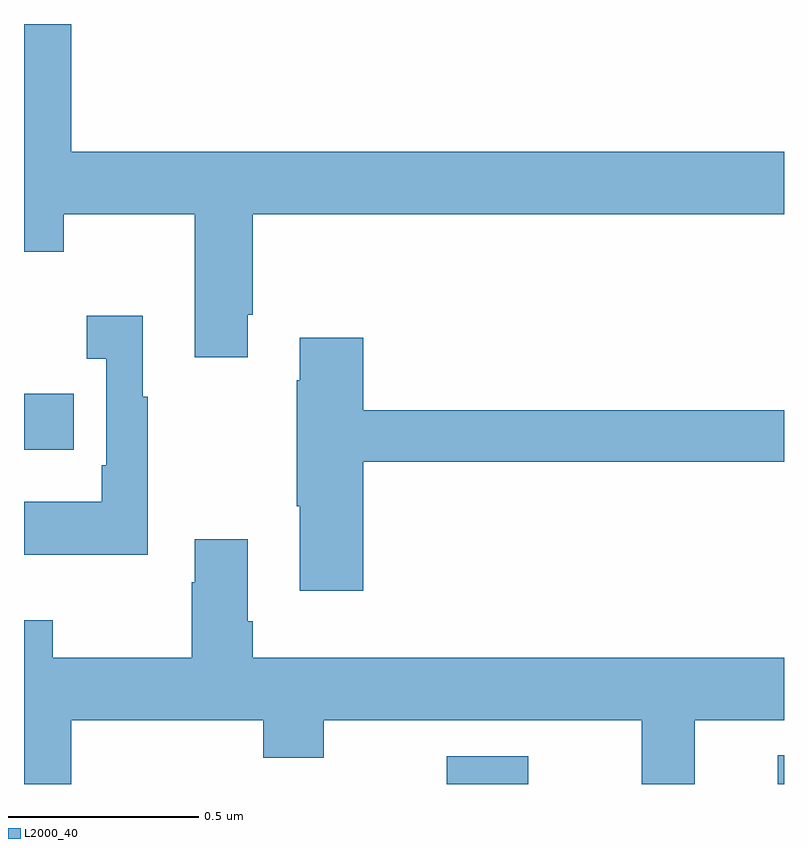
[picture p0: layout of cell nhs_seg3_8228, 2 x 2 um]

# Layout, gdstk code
import gdstk
lib = gdstk.Library(unit=1e-6, precision=1e-09)
def R(c, l, rs):  # rectangles x0, y0, x1, y1
    for r in rs: c.add(gdstk.rectangle(r[:2], r[2:], *l))
def P(c, l, *ps):  # polygons
    for p in ps: c.add(gdstk.Polygon(p, *l))
L2000_40 = (2000, 40)

nhs_seg3_8228 = lib.new_cell('nhs_seg3_8228')
R(nhs_seg3_8228, L2000_40, [(214.113,715.4,214.327,715.473), (214.983,715.4,215,715.476), (213,716.279,213.131,716.427)])
P(nhs_seg3_8228, L2000_40, [(213.589,716.635),(213.602,716.635),(213.602,716.9),(215,716.9),(215,717.064),(213.124,717.064),(213.124,717.4),(213,717.4),(213,716.801),(213.105,716.801),(213.105,716.9),(213.449,716.9),(213.449,716.523),(213.589,716.523)],
  [(213.325,716.419),(213.313,716.419),(213.313,716.632),(213.165,716.632),(213.165,716.519),(213.216,716.519),(213.216,716.239),(213.204,716.239),(213.204,716.143),(213,716.143),(213,716.003),(213.325,716.003)],
  [(213.893,716.248),(215,716.248),(215,716.384),(213.893,716.384),(213.893,716.575),(213.725,716.575),(213.725,716.462),(213.718,716.462),(213.718,716.131),(213.725,716.131),(213.725,715.908),(213.893,715.908)],
  [(213.124,715.568),(213.629,715.568),(213.629,715.469),(213.789,715.469),(213.789,715.568),(214.625,715.568),(214.625,715.4),(214.765,715.4),(214.765,715.568),(215,715.568),(215,715.732),(213.602,715.732),(213.602,715.828),(213.589,715.828),(213.589,716.044),(213.449,716.044),(213.449,715.931),(213.442,715.931),(213.442,715.732),(213.075,715.732),(213.075,715.831),(213,715.831),(213,715.4),(213.124,715.4)])

lib.write_gds('nhs_seg3_8228.gds')
